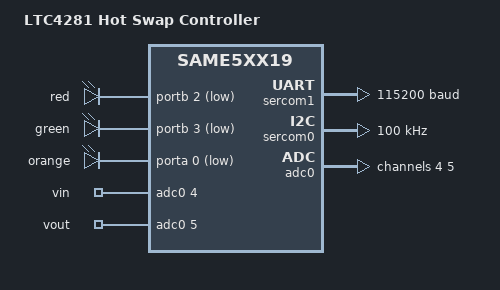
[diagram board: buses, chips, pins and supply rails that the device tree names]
/dts-v1/;
#include <atmel/same5xx19.dtsi>
#include <zephyr/dt-bindings/gpio/gpio.h>
#include <zephyr/dt-bindings/i2c/i2c.h>
#include "same51j_hotswap_controller-pinctrl.dtsi"

/ {
	model = "LTC4281 Hot Swap Controller";
	compatible = "custom,ltc4281-hotswap-controller";

	chosen {
		zephyr,console = &sercom1;
		zephyr,shell-uart = &sercom1;
		zephyr,sram = &sram0;
		zephyr,flash = &flash0;
	};

	aliases {
		led0 = &led_green;
		led1 = &led_red;
		led2 = &led_orange;
		i2c-0 = &sercom0;
	};

	leds {
		compatible = "gpio-leds";

		led_red: led_red {
			gpios = <&portb 2 GPIO_ACTIVE_LOW>;
			label = "red";
		};

		led_green: led_green {
			gpios = <&portb 3 GPIO_ACTIVE_LOW>;
			label = "green";
		};

		led_orange: led_orange {
			gpios = <&porta 0 GPIO_ACTIVE_LOW>;
			label = "orange";
		};
	};

	zephyr,user {
		io-channels = <&adc0 4>, <&adc0 5>;
		io-channel-names = "vin", "vout";
	};
};

&cpu0 {
	clock-frequency = <120000000>;
};

&sercom1 {
	compatible = "atmel,sam0-uart";
	current-speed = <115200>;
	rxpo = <1>;
	txpo = <0>;
	pinctrl-0 = <&sercom1_uart_default>;
	pinctrl-names = "default";
	status = "okay";
};

&sercom0 {
	compatible = "atmel,sam0-i2c";
	clock-frequency = <I2C_BITRATE_STANDARD>;
	#address-cells = <1>;
	#size-cells = <0>;
	pinctrl-0 = <&sercom0_i2c_default>;
	pinctrl-names = "default";
	status = "okay";
};

&adc0 {
	status = "okay";
	pinctrl-0 = <&adc0_default>;
	pinctrl-names = "default";
	#address-cells = <1>;
	#size-cells = <0>;

	channel@4 {
		reg = <4>;
		zephyr,gain = "ADC_GAIN_1";
		zephyr,reference = "ADC_REF_VDD_1";
		zephyr,vref-mv = <3300>;/* VDDANA = 3V3 */
		zephyr,acquisition-time = <ADC_ACQ_TIME_DEFAULT>;
		zephyr,resolution = <12>;
		zephyr,input-positive = <4>;
	};

	channel@5 {
		reg = <5>;
		zephyr,gain = "ADC_GAIN_1";
		zephyr,reference = "ADC_REF_VDD_1";
		zephyr,vref-mv = <3300>;/* VDDANA = 3V3 */
		zephyr,acquisition-time = <ADC_ACQ_TIME_DEFAULT>;
		zephyr,resolution = <12>;
		zephyr,input-positive = <5>;
	};
};
